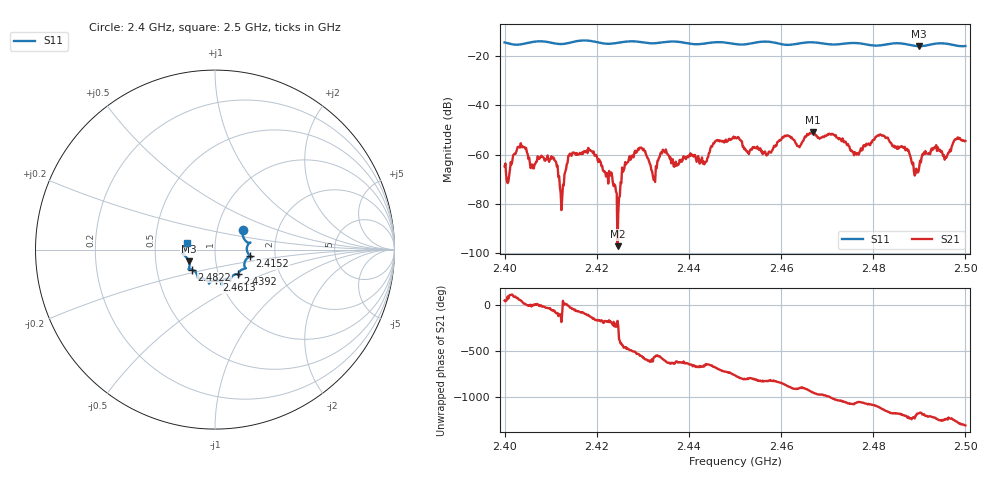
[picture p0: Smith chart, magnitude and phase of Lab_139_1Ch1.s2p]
# Hz S RI R 50
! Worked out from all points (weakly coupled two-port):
!   601 points, 2.4 GHz to 2.5 GHz, reference 50 ohm
!   highest |S21| = -50.77 dB at 2.4668 GHz (marker M1); lowest = -97.2 dB at 2.4245 GHz (marker M2)
!   lowest |S11| = -15.9 dB at 2.4898 GHz (marker M3), VSWR 1.38, Z = 37 - j5.03 ohm
!   |S11| at or under -10 dB: start of sweep to end of sweep
!   S12 and S22 are empty: the file has one direction only
!   S11 on the Smith chart (normalised r, x): 2.4 GHz: 1.33, +0.30; 2.4152 GHz: 1.48, -0.11; 2.4392 GHz: 1.23, -0.35; 2.4613 GHz: 0.96, -0.34; 2.4822 GHz: 0.76, -0.17; 2.5 GHz: 0.73, +0.05
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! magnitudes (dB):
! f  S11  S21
! 2.4 GHz  -14.4  -64.7
! 2.404 GHz  -15.0  -56.8
! 2.406 GHz  -14.2  -64.1
! 2.4107 GHz  -14.7  -61.3
! 2.4123 GHz  -15.0  -82.6
! 2.4152 GHz  -14.1  -59.2
! 2.4167 GHz  -13.6  -59.8
! 2.4245 GHz  -14.5  -97.2
! 2.4287 GHz  -14.0  -59.0
! 2.4322 GHz  -14.7  -68.4
! 2.4333 GHz  -14.6  -62.3
! 2.4392 GHz  -14.5  -60.9
! 2.45 GHz  -15.0  -52.8
! 2.4567 GHz  -14.0  -59.6
! 2.4613 GHz  -15.4  -52.1
! 2.4667 GHz  -14.3  -51.0
! 2.4668 GHz  -14.3  -50.8
! 2.4763 GHz  -14.6  -60.0
! 2.4822 GHz  -15.4  -52.2
! 2.4833 GHz  -15.0  -53.9
! 2.4898 GHz  -15.9  -66.9
! 2.5 GHz  -15.8  -54.4
